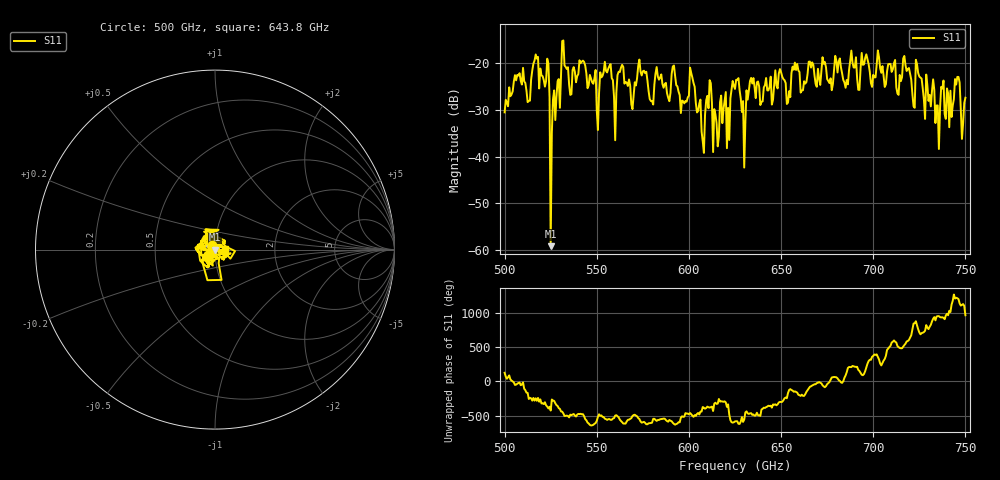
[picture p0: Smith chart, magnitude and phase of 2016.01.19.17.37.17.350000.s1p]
!Created with skrf (http://scikit-rf.org).
# GHz S RI R 50.0
!freq ReS11 ImS11
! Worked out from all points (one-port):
!   401 points, 500 GHz to 750 GHz, reference 50 ohm
!   lowest |S11| = -59.2 dB at 525 GHz (marker M1), VSWR 1.00, Z = 50.1 - j0.0973 ohm
!   |S11| at or under -10 dB: start of sweep to end of sweep
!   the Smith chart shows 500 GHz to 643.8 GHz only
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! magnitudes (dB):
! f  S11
! 500 GHz  -30.5
! 506.9 GHz  -22.5
! 513.1 GHz  -28.0
! 516.9 GHz  -18.1
! 523.1 GHz  -19.0
! 525 GHz  -59.2
! 526.2 GHz  -27.7
! 527.5 GHz  -32.2
! 531.2 GHz  -15.2
! 551.2 GHz  -26.4
! 562.5 GHz  -21.9
! 569.4 GHz  -29.8
! 573.8 GHz  -21.8
! 579.4 GHz  -28.1
! 593.8 GHz  -24.9
! 601.9 GHz  -23.1
! 607.5 GHz  -36.7
! 611.2 GHz  -23.6
! 614.4 GHz  -30.9
! 625 GHz  -25.5
! 629.4 GHz  -28.1
! 633.8 GHz  -23.1
! 656.2 GHz  -20.7
! 687.5 GHz  -19.5
! 718.8 GHz  -21.2
! 735 GHz  -29.0
! 745.6 GHz  -22.9
! 750 GHz  -27.4
